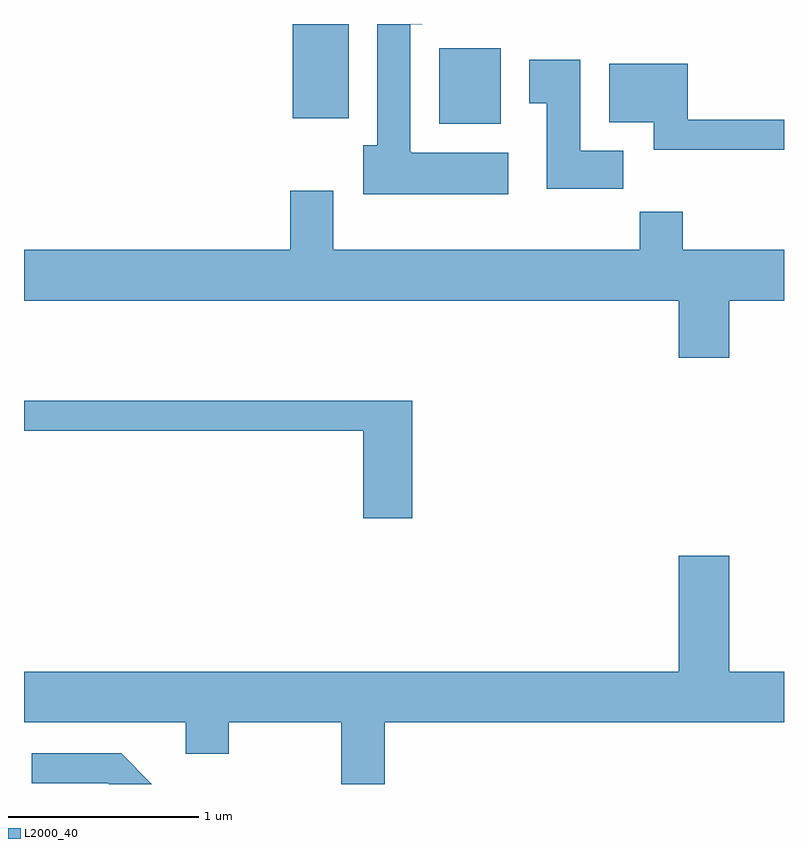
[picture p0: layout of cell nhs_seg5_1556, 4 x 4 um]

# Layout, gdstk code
import gdstk
lib = gdstk.Library(unit=1e-6, precision=1e-09)
def R(c, l, rs):  # rectangles x0, y0, x1, y1
    for r in rs: c.add(gdstk.rectangle(r[:2], r[2:], *l))
def P(c, l, *ps):  # polygons
    for p in ps: c.add(gdstk.Polygon(p, *l))
L2000_40 = (2000, 40)

nhs_seg5_1556 = lib.new_cell('nhs_seg5_1556')
R(nhs_seg5_1556, L2000_40, [(233.796,1415.546,234.119,1415.944), (233.026,1415.576,233.319,1416.072)])
P(nhs_seg5_1556, L2000_40, [(234.159,1415.394),(233.65,1415.394),(233.65,1415.4),(233.644,1415.4),(233.644,1416.071),(233.708,1416.071),(233.708,1416.072),(233.471,1416.072),(233.471,1415.434),(233.396,1415.434),(233.396,1415.176),(234.159,1415.176)],
  [(234.764,1415.404),(234.539,1415.404),(234.539,1415.884),(234.271,1415.884),(234.271,1415.656),(234.361,1415.656),(234.361,1415.206),(234.764,1415.206)],
  [(235.611,1415.569),(235.104,1415.569),(235.104,1415.864),(234.691,1415.864),(234.691,1415.556),(234.926,1415.556),(234.926,1415.411),(235.611,1415.411)],
  [(235.324,1414.616),(235.611,1414.616),(235.611,1414.884),(235.079,1414.884),(235.079,1415.084),(234.851,1415.084),(234.851,1414.884),(233.239,1414.884),(233.239,1415.194),(233.011,1415.194),(233.011,1414.884),(231.611,1414.884),(231.611,1414.616),(235.056,1414.616),(235.056,1414.316),(235.324,1414.316)],
  [(233.654,1414.089),(231.611,1414.089),(231.611,1413.931),(233.396,1413.931),(233.396,1413.471),(233.654,1413.471)],
  [(235.611,1412.664),(235.324,1412.664),(235.324,1413.274),(235.056,1413.274),(235.056,1412.664),(231.611,1412.664),(231.611,1412.396),(232.461,1412.396),(232.461,1412.231),(232.689,1412.231),(232.689,1412.396),(233.281,1412.396),(233.281,1412.072),(233.509,1412.072),(233.509,1412.396),(235.611,1412.396)],
  [(232.122,1412.234),(231.653,1412.234),(231.653,1412.076),(232.054,1412.076),(232.058,1412.072),(232.284,1412.072)])

lib.write_gds('nhs_seg5_1556.gds')
